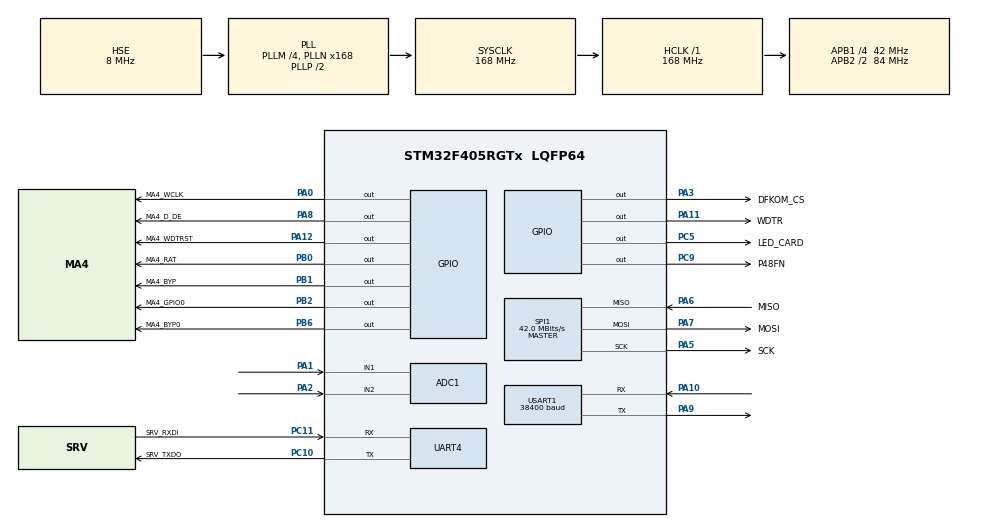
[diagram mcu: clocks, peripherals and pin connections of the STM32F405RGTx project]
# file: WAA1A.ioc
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ADC1.Channel-0\#ChannelRegularConversion=ADC_CHANNEL_1
ADC1.NbrOfConversionFlag=1
ADC1.Rank-0\#ChannelRegularConversion=1
ADC1.SamplingTime-0\#ChannelRegularConversion=ADC_SAMPLETIME_3CYCLES
ADC1.master=1
Mcu.Family=STM32F4
Mcu.Name=STM32F405RGTx
Mcu.Package=LQFP64
NVIC.PriorityGroup=NVIC_PRIORITYGROUP_4
NVIC.USART1_IRQn=true\:0\:0\:false\:false\:true\:true\:true\:true
PA0-WKUP.GPIO_Label=MA4_WCLK
PA0-WKUP.Signal=GPIO_Output
PA1.Signal=ADCx_IN1
PA10.Mode=Asynchronous
PA10.Signal=USART1_RX
PA11.GPIO_Label=WDTR
PA11.Signal=GPIO_Output
PA12.GPIO_Label=MA4_WDTRST
PA12.Signal=GPIO_Output
PA13.Signal=SYS_JTMS-SWDIO
PA14.Signal=SYS_JTCK-SWCLK
PA2.Signal=ADCx_IN2
PA3.GPIO_Label=DFKOM_CS
PA3.Signal=GPIO_Output
PA5.GPIO_Label=SCK
PA5.Mode=Full_Duplex_Master
PA5.Signal=SPI1_SCK
PA6.GPIO_Label=MISO
PA6.Mode=Full_Duplex_Master
PA6.Signal=SPI1_MISO
PA7.GPIO_Label=MOSI
PA7.Mode=Full_Duplex_Master
PA7.Signal=SPI1_MOSI
PA8.GPIO_Label=MA4_D_DE
PA8.Signal=GPIO_Output
PA9.Mode=Asynchronous
PA9.Signal=USART1_TX
PB0.GPIO_Label=MA4_RAT
PB0.Signal=GPIO_Output
PB1.GPIO_Label=MA4_BYP
PB1.Signal=GPIO_Output
PB2.GPIO_Label=MA4_GPIO0
PB2.Signal=GPIO_Output
PB5.Signal=I2S3_SD
PB6.GPIO_Label=MA4_BYP0
PB6.Signal=GPIO_Output
PC10.GPIO_Label=SRV_TXDO
PC10.Mode=Asynchronous
PC10.Signal=UART4_TX
PC11.GPIO_Label=SRV_RXDI
PC11.Mode=Asynchronous
PC11.Signal=UART4_RX
PC5.GPIO_Label=LED_CARD
PC5.Signal=GPIO_Output
PC9.GPIO_Label=P48FN
PC9.Signal=GPIO_Output
PH0-OSC_IN.Mode=HSE-External-Oscillator
PH0-OSC_IN.Signal=RCC_OSC_IN
PH1-OSC_OUT.Mode=HSE-External-Oscillator
PH1-OSC_OUT.Signal=RCC_OSC_OUT
ProjectManager.HeapSize=0x200
ProjectManager.StackSize=0x400
ProjectManager.TargetToolchain=STM32CubeIDE
RCC.48MHZClocksFreq_Value=84000000
RCC.AHBFreq_Value=168000000
RCC.APB1CLKDivider=RCC_HCLK_DIV4
RCC.APB1Freq_Value=42000000
RCC.APB1TimFreq_Value=84000000
RCC.APB2CLKDivider=RCC_HCLK_DIV2
RCC.APB2Freq_Value=84000000
RCC.APB2TimFreq_Value=168000000
RCC.CortexFreq_Value=168000000
RCC.HCLKFreq_Value=168000000
RCC.HSE_VALUE=8000000
RCC.HSI_VALUE=16000000
RCC.LSE_VALUE=32768
RCC.PLLM=4
RCC.PLLN=168
RCC.PLLSourceVirtual=RCC_PLLSOURCE_HSE
RCC.SYSCLKFreq_VALUE=168000000
RCC.SYSCLKSource=RCC_SYSCLKSOURCE_PLLCLK
RCC.VCOOutputFreq_Value=336000000
SH.ADCx_IN1.0=ADC1_IN1,IN1
SH.ADCx_IN2.0=ADC1_IN2,IN2
SPI1.CalculateBaudRate=42.0 MBits/s
SPI1.Direction=SPI_DIRECTION_2LINES
SPI1.Mode=SPI_MODE_MASTER
SPI1.VirtualType=VM_MASTER
UART4.VirtualMode=Asynchronous
USART1.BaudRate=38400
USART1.VirtualMode=VM_ASYNC
VP_CRC_VS_CRC.Mode=CRC_Activate
board=custom

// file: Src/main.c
/* USER CODE BEGIN Header */
/**
  ******************************************************************************
  * @file           : main.c
  * @brief          : Main program body
  ******************************************************************************
  * @attention
  *
  * <h2><center>&copy; Copyright (c) 2022 STMicroelectronics.
  * All rights reserved.</center></h2>
  *
  * This software component is licensed by ST under BSD 3-Clause license,
  * the "License"; You may not use this file except in compliance with the
  * License. You may obtain a copy of the License at:
  *                        opensource.org/licenses/BSD-3-Clause
  *
  ******************************************************************************
  */
/* USER CODE END Header */

#include "main.h"
#include "adc.h"
#include "crc.h"
#include "spi.h"
#include "usart.h"
#include "gpio.h"

void SystemClock_Config(void);

/* USER CODE BEGIN 0 */

uint8_t mRXBuf[2];            // bufor do odbioru przez HW UART
uint16_t gLedCnt = 0;
uint8_t data[3];

//----------------------------------------------------------------------------
void HAL_UART_TxCpltCallback( UART_HandleTypeDef *huart ){
  //__disable_irq();
  // if( huart == g485E.mhUart   )  g485E.onIT_TX();
  // if( huart == gST7580.mhUart )  gST7580.onIT_TX();
 // __enable_irq();
 }//----------------------------------------------------------------------------

//----------------------------------------------------------------------------
void HAL_UART_RxCpltCallback(UART_HandleTypeDef *huart ) {
 // __disable_irq();
 // if( huart == g485E.mhUart   )  g485E.onIT_RX();
 // if( huart == gST7580.mhUart )  gST7580.onIT_RX();
//  __enable_irq();

	HAL_GPIO_TogglePin( GPIOC, GPIO_PIN_5 );  // LED

    HAL_UART_Receive_IT( &huart1, mRXBuf, 1 );

}//----------------------------------------------------------------------------

uint8_t gIsTimerMain_250ms = 0;

void HAL_SYSTICK_Callback(void){

	 //HAL_GPIO_WritePin( GPIOA, GPIO_PIN_12, 1 );   // MA7_WDTRST
	//    HAL_GPIO_TogglePin( GPIOA, GPIO_PIN_11 ); // WDTR

      // --- LED -------------
    gLedCnt += 1;
    if( gLedCnt == 250 ){
      gLedCnt = 0;
      gIsTimerMain_250ms = 1;
    }

 }//----------------------------------------------------------------------------

/* USER CODE END 0 */

int main(void)
{

  /* MCU Configuration--------------------------------------------------------*/

  /* Reset of all peripherals, Initializes the Flash interface and the Systick. */
  HAL_Init();

  /* Configure the system clock */
  SystemClock_Config();

  /* Initialize all configured peripherals */
  MX_GPIO_Init();
  MX_ADC1_Init();
  MX_CRC_Init();
  MX_SPI1_Init();
  MX_UART4_Init();
  MX_USART1_UART_Init();
  /* USER CODE BEGIN 2 */

  HAL_GPIO_WritePin( GPIOA, GPIO_PIN_12, 0 );   // MA7_WDTRST
  HAL_GPIO_WritePin( GPIOA, GPIO_PIN_8, 0 );    // MA4_D_DE

  data[0] = 0xAA;
  data[1] = 0x02;
  data[2] = 0x04;

  /* USER CODE END 2 */

  /* Infinite loop */
  /* USER CODE BEGIN WHILE */
  __enable_irq();
  HAL_UART_Receive_IT( &huart1, mRXBuf, 1 );

  while (1)
  {

	    if( gIsTimerMain_250ms != 0 ){
	      gIsTimerMain_250ms = 0;

	     // HAL_UART_Transmit(&huart1, data, 3, 0xffff)
	     // HAL_GPIO_TogglePin( GPIOC, GPIO_PIN_5 );  // LED
	    }

	    HAL_Delay( 10 );

    /* USER CODE END WHILE */

  }
}

void SystemClock_Config(void)
{
  RCC_OscInitTypeDef RCC_OscInitStruct = {0};
  RCC_ClkInitTypeDef RCC_ClkInitStruct = {0};

  /** Configure the main internal regulator output voltage
  */
  __HAL_RCC_PWR_CLK_ENABLE();
  __HAL_PWR_VOLTAGESCALING_CONFIG(PWR_REGULATOR_VOLTAGE_SCALE1);
  /** Initializes the CPU, AHB and APB busses clocks
  */
  RCC_OscInitStruct.OscillatorType = RCC_OSCILLATORTYPE_HSE;
  RCC_OscInitStruct.HSEState = RCC_HSE_ON;
  RCC_OscInitStruct.PLL.PLLState = RCC_PLL_ON;
  RCC_OscInitStruct.PLL.PLLSource = RCC_PLLSOURCE_HSE;
  RCC_OscInitStruct.PLL.PLLM = 4;
  RCC_OscInitStruct.PLL.PLLN = 168;
  RCC_OscInitStruct.PLL.PLLP = RCC_PLLP_DIV2;
  RCC_OscInitStruct.PLL.PLLQ = 4;
  if (HAL_RCC_OscConfig(&RCC_OscInitStruct) != HAL_OK)
  {
    Error_Handler();
  }
  /** Initializes the CPU, AHB and APB busses clocks
  */
  RCC_ClkInitStruct.ClockType = RCC_CLOCKTYPE_HCLK|RCC_CLOCKTYPE_SYSCLK
                              |RCC_CLOCKTYPE_PCLK1|RCC_CLOCKTYPE_PCLK2;
  RCC_ClkInitStruct.SYSCLKSource = RCC_SYSCLKSOURCE_PLLCLK;
  RCC_ClkInitStruct.AHBCLKDivider = RCC_SYSCLK_DIV1;
  RCC_ClkInitStruct.APB1CLKDivider = RCC_HCLK_DIV4;
  RCC_ClkInitStruct.APB2CLKDivider = RCC_HCLK_DIV2;

  if (HAL_RCC_ClockConfig(&RCC_ClkInitStruct, FLASH_LATENCY_5) != HAL_OK)
  {
    Error_Handler();
  }
}

void Error_Handler(void)
{
}

/************************ (C) COPYRIGHT STMicroelectronics *****END OF FILE****/
